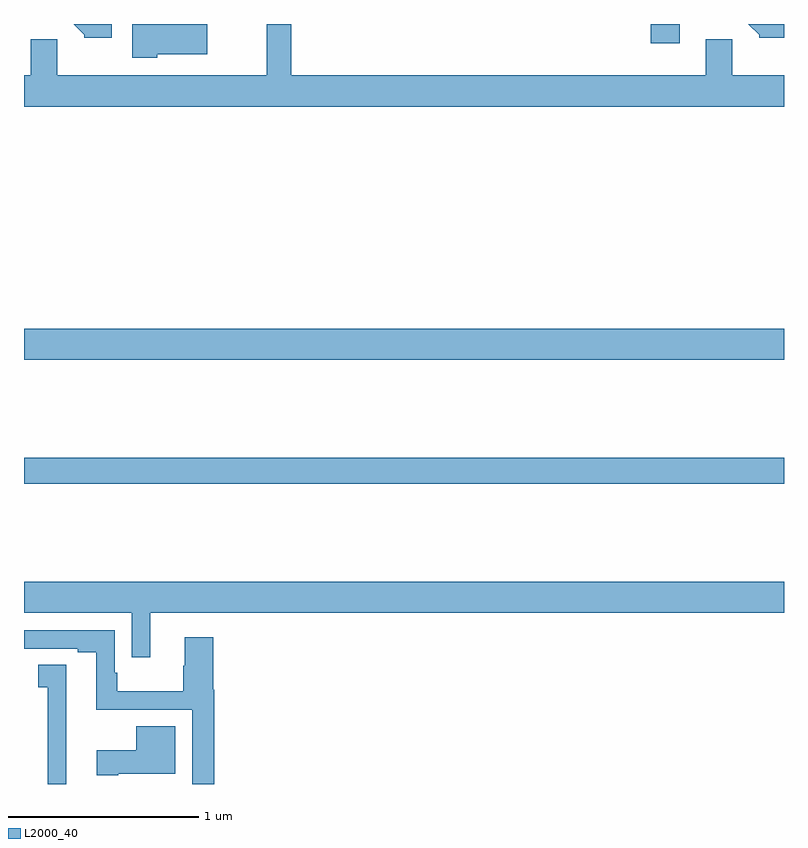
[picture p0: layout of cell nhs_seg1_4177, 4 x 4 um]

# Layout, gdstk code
import gdstk
lib = gdstk.Library(unit=1e-6, precision=1e-09)
def R(c, l, rs):  # rectangles x0, y0, x1, y1
    for r in rs: c.add(gdstk.rectangle(r[:2], r[2:], *l))
def P(c, l, *ps):  # polygons
    for p in ps: c.add(gdstk.Polygon(p, *l))
L2000_40 = (2000, 40)

nhs_seg1_4177 = lib.new_cell('nhs_seg1_4177')
R(nhs_seg1_4177, L2000_40, [(339,517.78,343,517.916), (339,518.432,343,518.596), (342.299,520.097,342.451,520.199)])
P(nhs_seg1_4177, L2000_40, [(343,519.928),(342.727,519.928),(342.727,520.118),(342.587,520.118),(342.587,519.928),(340.406,519.928),(340.406,520.199),(340.278,520.199),(340.278,519.928),(339.175,519.928),(339.175,520.118),(339.035,520.118),(339.035,519.928),(339,519.928),(339,519.764),(343,519.764)],
  [(339.463,520.199),(339.261,520.199),(339.318,520.142),(339.318,520.127),(339.463,520.127)],
  [(343,520.199),(342.813,520.199),(342.87,520.142),(342.87,520.127),(343,520.127)],
  [(339.702,520.04),(339.964,520.04),(339.964,520.198),(339.666,520.198),(339.666,520.199),(339.57,520.199),(339.57,520.022),(339.702,520.022)],
  [(339.665,517.1),(343,517.1),(343,517.264),(339,517.264),(339,517.1),(339.567,517.1),(339.567,516.867),(339.665,516.867)],
  [(340.001,516.694),(339.995,516.694),(339.995,516.972),(339.845,516.972),(339.845,516.822),(339.838,516.822),(339.838,516.688),(339.49,516.688),(339.49,516.784),(339.477,516.784),(339.477,517.008),(339,517.008),(339,516.912),(339.284,516.912),(339.284,516.892),(339.38,516.892),(339.38,516.591),(339.885,516.591),(339.885,516.199),(340.001,516.199)],
  [(339.223,516.827),(339.075,516.827),(339.075,516.709),(339.125,516.709),(339.125,516.199),(339.223,516.199)],
  [(339.496,516.254),(339.796,516.254),(339.796,516.502),(339.59,516.502),(339.59,516.376),(339.384,516.376),(339.384,516.246),(339.496,516.246)])

lib.write_gds('nhs_seg1_4177.gds')
